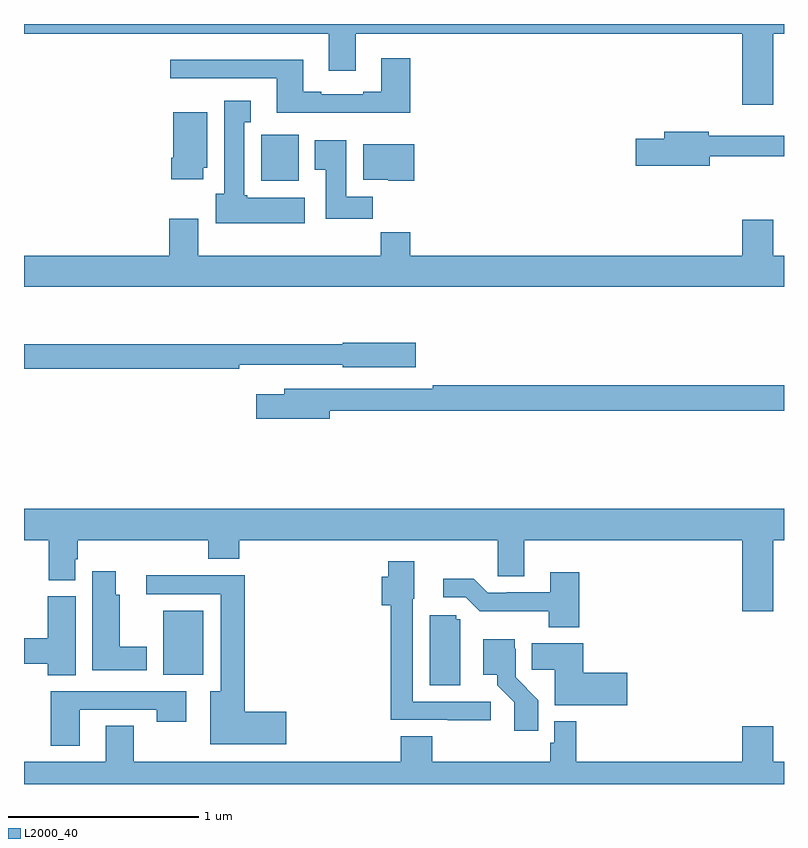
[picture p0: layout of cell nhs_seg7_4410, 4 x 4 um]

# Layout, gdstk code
import gdstk
lib = gdstk.Library(unit=1e-6, precision=1e-09)
def R(c, l, rs):  # rectangles x0, y0, x1, y1
    for r in rs: c.add(gdstk.rectangle(r[:2], r[2:], *l))
def P(c, l, *ps):  # polygons
    for p in ps: c.add(gdstk.Polygon(p, *l))
L2000_40 = (2000, 40)

nhs_seg7_4410 = lib.new_cell('nhs_seg7_4410')
R(nhs_seg7_4410, L2000_40, [(389.732,998.576,389.944,998.911), (390.248,1001.174,390.445,1001.416)])
P(nhs_seg7_4410, L2000_40, [(389,1001.948),(390.605,1001.948),(390.605,1001.754),(390.745,1001.754),(390.745,1001.948),(392.78,1001.948),(392.78,1001.574),(392.944,1001.574),(392.944,1001.948),(393,1001.948),(393,1002),(389,1002)],
  [(391.034,1001.821),(390.881,1001.821),(390.881,1001.644),(390.785,1001.644),(390.785,1001.631),(390.565,1001.631),(390.565,1001.644),(390.469,1001.644),(390.469,1001.812),(389.769,1001.812),(389.769,1001.715),(390.329,1001.715),(390.329,1001.534),(391.034,1001.534)],
  [(390.478,1001.086),(390.174,1001.086),(390.174,1001.1),(390.16,1001.1),(390.16,1001.483),(390.193,1001.483),(390.193,1001.596),(390.053,1001.596),(390.053,1001.106),(390.008,1001.106),(390.008,1000.952),(390.478,1000.952)],
  [(389.944,1001.244),(389.965,1001.244),(389.965,1001.536),(389.786,1001.536),(389.786,1001.296),(389.774,1001.296),(389.774,1001.184),(389.944,1001.184)],
  [(392.608,1001.304),(393,1001.304),(393,1001.413),(392.604,1001.413),(392.604,1001.432),(392.369,1001.432),(392.369,1001.396),(392.22,1001.396),(392.22,1001.254),(392.608,1001.254)],
  [(390.836,1001.092),(390.697,1001.092),(390.697,1001.389),(390.53,1001.389),(390.53,1001.233),(390.587,1001.233),(390.587,1000.974),(390.836,1000.974)],
  [(391.054,1001.368),(390.785,1001.368),(390.785,1001.18),(390.918,1001.18),(390.918,1001.174),(391.054,1001.174)],
  [(393,1000.78),(392.944,1000.78),(392.944,1000.969),(392.78,1000.969),(392.78,1000.78),(391.034,1000.78),(391.034,1000.904),(390.877,1000.904),(390.877,1000.78),(389.917,1000.78),(389.917,1000.975),(389.765,1000.975),(389.765,1000.78),(389,1000.78),(389,1000.616),(393,1000.616)],
  [(390.134,1000.206),(390.678,1000.206),(390.678,1000.193),(391.063,1000.193),(391.063,1000.323),(390.678,1000.323),(390.678,1000.315),(389,1000.315),(389,1000.186),(390.134,1000.186)],
  [(390.61,999.964),(393,999.964),(393,1000.1),(391.15,1000.1),(391.15,1000.08),(390.371,1000.08),(390.371,1000.051),(390.222,1000.051),(390.222,999.922),(390.61,999.922)],
  [(392.944,999.284),(393,999.284),(393,999.448),(389,999.448),(389,999.284),(389.129,999.284),(389.129,999.073),(389.269,999.073),(389.269,999.183),(389.282,999.183),(389.282,999.284),(389.969,999.284),(389.969,999.185),(390.134,999.185),(390.134,999.284),(391.494,999.284),(391.494,999.094),(391.633,999.094),(391.633,999.284),(392.78,999.284),(392.78,998.91),(392.944,998.91)],
  [(391.456,998.433),(391.047,998.433),(391.047,998.976),(391.054,998.976),(391.054,999.172),(390.918,999.172),(390.918,999.09),(390.884,999.09),(390.884,998.942),(390.931,998.942),(390.931,998.337),(391.231,998.337),(391.231,998.335),(391.456,998.335)],
  [(389.647,998.722),(389.503,998.722),(389.503,998.997),(389.482,998.997),(389.482,999.121),(389.36,999.121),(389.36,998.6),(389.647,998.6)],
  [(391.922,999.115),(391.769,999.115),(391.769,999.009),(391.54,999.009),(391.54,999.006),(391.44,999.006),(391.367,999.079),(391.206,999.079),(391.206,998.982),(391.326,998.982),(391.399,998.91),(391.762,998.91),(391.762,998.825),(391.922,998.825)],
  [(390.379,998.381),(390.161,998.381),(390.161,999.098),(389.643,999.098),(389.643,999),(390.035,999),(390.035,998.488),(389.981,998.488),(389.981,998.21),(390.379,998.21)],
  [(389.272,998.988),(389.126,998.988),(389.126,998.768),(389,998.768),(389,998.632),(389.126,998.632),(389.126,998.572),(389.272,998.572)],
  [(391.297,998.868),(391.275,998.868),(391.275,998.889),(391.136,998.889),(391.136,998.52),(391.297,998.52)],
  [(391.706,998.442),(391.587,998.561),(391.587,998.712),(391.582,998.712),(391.582,998.761),(391.418,998.761),(391.418,998.576),(391.49,998.576),(391.49,998.521),(391.581,998.431),(391.581,998.28),(391.706,998.28)],
  [(392.176,998.585),(391.943,998.585),(391.943,998.74),(391.672,998.74),(391.672,998.602),(391.793,998.602),(391.793,998.414),(392.176,998.414)],
  [(389.293,998.391),(389.698,998.391),(389.698,998.328),(389.854,998.328),(389.854,998.487),(389.141,998.487),(389.141,998.202),(389.293,998.202)],
  [(393,998.116),(392.944,998.116),(392.944,998.305),(392.78,998.305),(392.78,998.116),(391.907,998.116),(391.907,998.329),(391.791,998.329),(391.791,998.217),(391.771,998.217),(391.771,998.116),(391.148,998.116),(391.148,998.252),(390.983,998.252),(390.983,998.116),(389.577,998.116),(389.577,998.306),(389.429,998.306),(389.429,998.116),(389,998.116),(389,998),(393,998)])

lib.write_gds('nhs_seg7_4410.gds')
